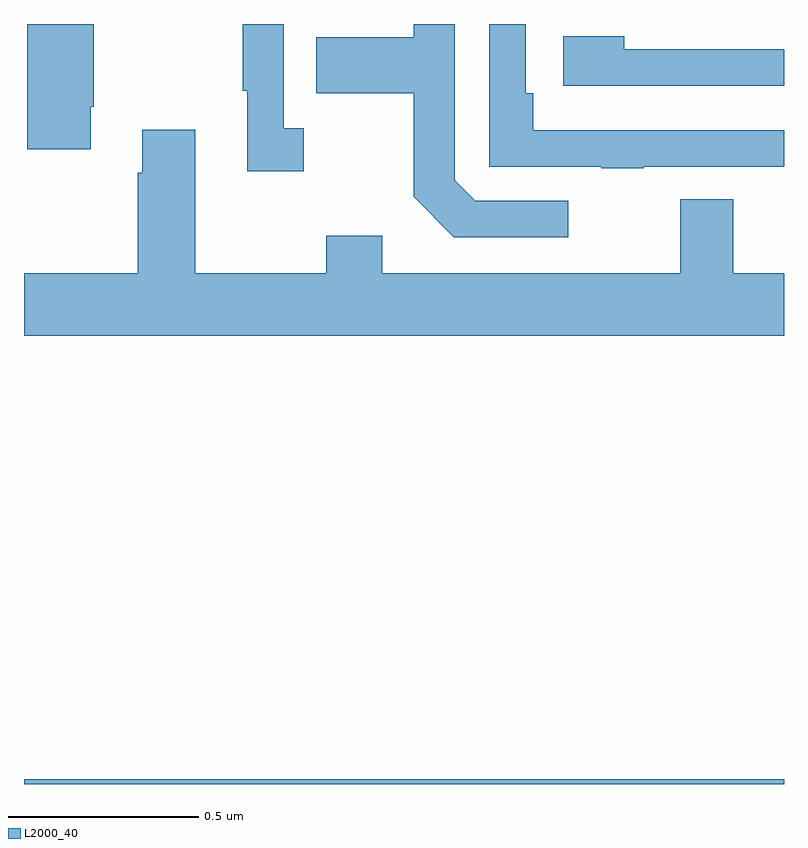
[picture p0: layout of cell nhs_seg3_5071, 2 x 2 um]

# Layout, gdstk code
import gdstk
lib = gdstk.Library(unit=1e-6, precision=1e-09)
def R(c, l, rs):  # rectangles x0, y0, x1, y1
    for r in rs: c.add(gdstk.rectangle(r[:2], r[2:], *l))
def P(c, l, *ps):  # polygons
    for p in ps: c.add(gdstk.Polygon(p, *l))
L2000_40 = (2000, 40)

nhs_seg3_5071 = lib.new_cell('nhs_seg3_5071')
R(nhs_seg3_5071, L2000_40, [(174,702.4,176,702.412)])
P(nhs_seg3_5071, L2000_40, [(175.631,704.025),(176,704.025),(176,704.121),(175.34,704.121),(175.34,704.218),(175.32,704.218),(175.32,704.4),(175.224,704.4),(175.224,704.025),(175.519,704.025),(175.519,704.02),(175.631,704.02)],
  [(175.432,703.935),(175.188,703.935),(175.134,703.989),(175.134,704.4),(175.026,704.4),(175.026,704.365),(174.769,704.365),(174.769,704.218),(175.026,704.218),(175.026,703.945),(175.131,703.839),(175.432,703.839)],
  [(174.175,704.182),(174.183,704.182),(174.183,704.4),(174.008,704.4),(174.008,704.07),(174.175,704.07)],
  [(174.736,704.126),(174.684,704.126),(174.684,704.4),(174.576,704.4),(174.576,704.225),(174.587,704.225),(174.587,704.013),(174.736,704.013)],
  [(176,704.334),(175.58,704.334),(175.58,704.368),(175.419,704.368),(175.419,704.238),(176,704.238)],
  [(176,703.744),(175.867,703.744),(175.867,703.939),(175.727,703.939),(175.727,703.744),(174.943,703.744),(174.943,703.843),(174.796,703.843),(174.796,703.744),(174.451,703.744),(174.451,704.122),(174.311,704.122),(174.311,704.009),(174.299,704.009),(174.299,703.744),(174,703.744),(174,703.58),(176,703.58)])

lib.write_gds('nhs_seg3_5071.gds')
